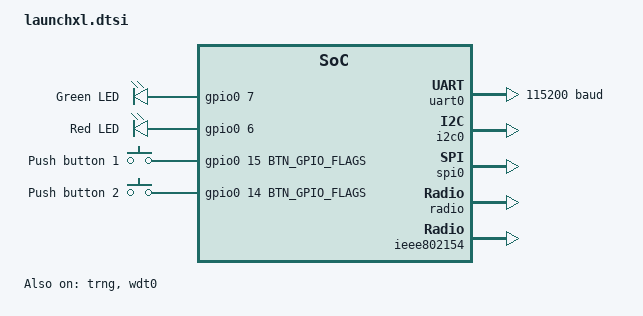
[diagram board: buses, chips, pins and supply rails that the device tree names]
/*
 * Copyright (c) 2021 Florin Stancu
 *
 * SPDX-License-Identifier: Apache-2.0
 */

#include "boosterpack_connector.dtsi"
#include "launchxl-pinctrl.dtsi"
#include <zephyr/dt-bindings/input/input-event-codes.h>

#define BTN_GPIO_FLAGS (GPIO_ACTIVE_LOW | GPIO_PULL_UP)

/ {
	aliases {
		led0 = &led0;
		led1 = &led1;
		sw0 = &btn0;
		sw1 = &btn1;
		watchdog0 = &wdt0;
		mcuboot-led0 = &led1;
		mcuboot-button0 = &btn1;
	};

	chosen {
		zephyr,sram = &sram0;
		zephyr,flash = &flash0;
		zephyr,console = &uart0;
		zephyr,shell-uart = &uart0;
		zephyr,ieee802154 = &ieee802154;
		zephyr,code-partition = &slot0_partition;
	};

	leds {
		compatible = "gpio-leds";

		led0: led_0 {
			gpios = <&gpio0 7 GPIO_ACTIVE_HIGH>;
			label = "Green LED";
		};

		led1: led_1 {
			gpios = <&gpio0 6 GPIO_ACTIVE_HIGH>;
			label = "Red LED";
		};
	};

	keys {
		compatible = "gpio-keys";

		btn0: btn_0 {
			gpios = <&gpio0 15 BTN_GPIO_FLAGS>;
			label = "Push button 1";
			zephyr,code = <INPUT_KEY_0>;
		};

		btn1: btn_1 {
			gpios = <&gpio0 14 BTN_GPIO_FLAGS>;
			label = "Push button 2";
			zephyr,code = <INPUT_KEY_1>;
		};
	};
};

&cpu0 {
	clock-frequency = <48000000>;
};

&trng {
	status = "okay";
};

&gpio0 {
	status = "okay";
};

&uart0 {
	status = "okay";
	current-speed = <115200>;
	pinctrl-0 = <&uart0_rx_default &uart0_tx_default>;
	pinctrl-names = "default";
};

&uart1 {
	status = "disabled";
	current-speed = <115200>;
	pinctrl-0 = <&uart1_rx_default &uart1_tx_default>;
	pinctrl-names = "default";
};

&i2c0 {
	status = "okay";
	pinctrl-0 = <&i2c0_scl_default &i2c0_sda_default>;
	pinctrl-1 = <&i2c0_scl_sleep &i2c0_sda_sleep>;
	pinctrl-names = "default", "sleep";
};

&spi0 {
	status = "okay";
	pinctrl-0 = <&spi0_sck_default &spi0_mosi_default
		     &spi0_miso_default &spi0_cs_default>;
	pinctrl-names = "default";
	cs-gpios = <&gpio0 11 GPIO_ACTIVE_LOW>;
};

&radio {
	status = "okay";
};

&ieee802154 {
	status = "okay";
};

&ieee802154g {
	status = "disabled";
};

&wdt0 {
	status = "okay";
};
